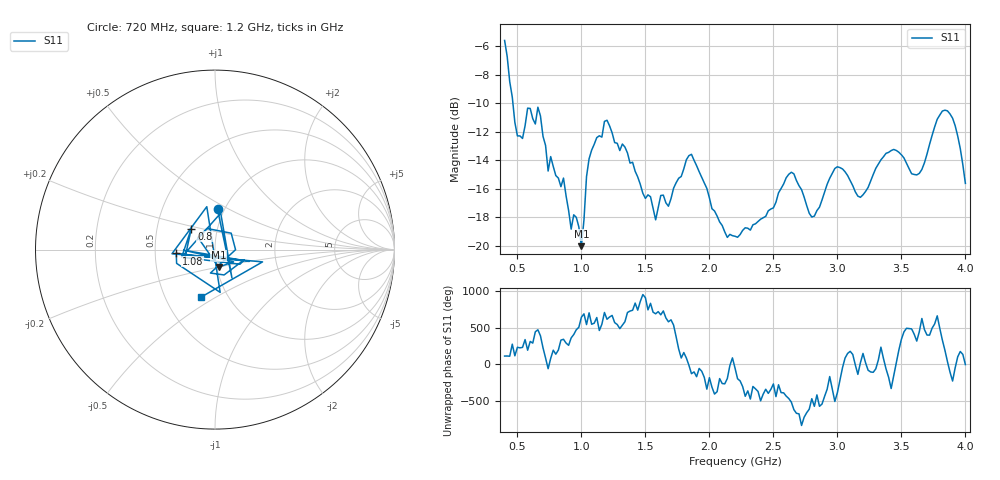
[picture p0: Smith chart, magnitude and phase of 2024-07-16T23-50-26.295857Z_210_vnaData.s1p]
!Created with skrf (http://scikit-rf.org).
# Hz S RI R 50.0
!freq ReS11 ImS11
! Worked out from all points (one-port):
!   181 points, 400 MHz to 4 GHz, reference 50 ohm
!   lowest |S11| = -20.0 dB at 1 GHz (marker M1), VSWR 1.22, Z = 51.1 - j10.1 ohm
!   |S11| at or under -10 dB: 465 MHz to end of sweep
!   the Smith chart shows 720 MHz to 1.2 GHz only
!   S11 on the Smith chart (normalised r, x): 720 MHz: 0.93, +0.44; 800 MHz: 0.75, +0.18; 1.08 GHz: 0.64, -0.03; 1.2 GHz: 0.75, -0.43
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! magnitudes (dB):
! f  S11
! 400 MHz  -5.6
! 500 MHz  -12.3
! 660 MHz  -10.3
! 720 MHz  -12.9
! 800 MHz  -15.1
! 860 MHz  -15.2
! 920 MHz  -18.8
! 960 MHz  -18.0
! 1 GHz  -20.0
! 1.04 GHz  -15.1
! 1.08 GHz  -13.3
! 1.2 GHz  -11.2
! 1.3 GHz  -13.3
! 1.58 GHz  -18.2
! 1.76 GHz  -15.3
! 1.86 GHz  -13.6
! 2.2 GHz  -19.3
! 2.66 GHz  -14.9
! 2.8 GHz  -18.0
! 2.98 GHz  -14.6
! 3.1 GHz  -15.4
! 3.18 GHz  -16.6
! 3.44 GHz  -13.2
! 3.56 GHz  -14.6
! 3.66 GHz  -14.6
! 3.84 GHz  -10.5
! 3.92 GHz  -11.6
! 4 GHz  -15.6
